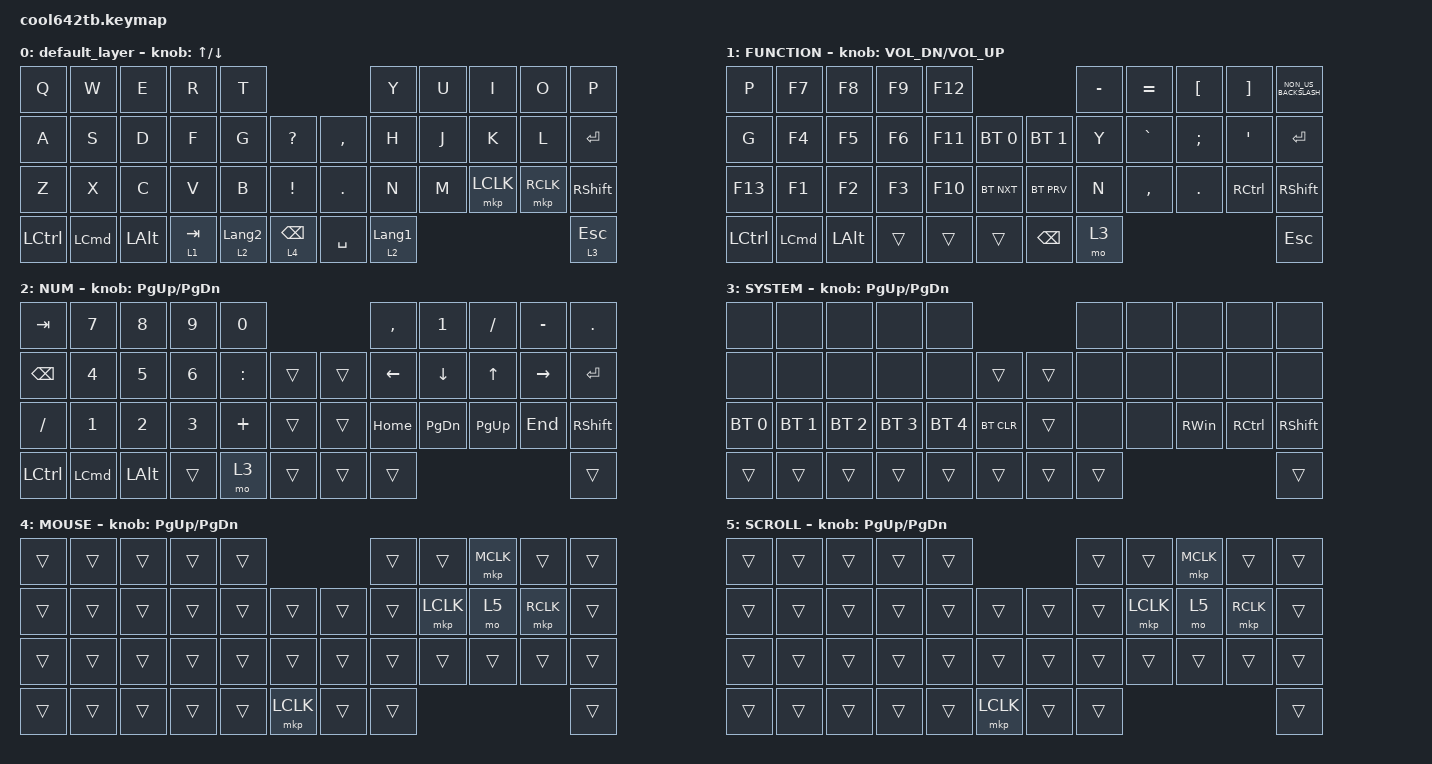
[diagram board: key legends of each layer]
#include <behaviors.dtsi>
#include <dt-bindings/zmk/bt.h>
#include <dt-bindings/zmk/keys.h>
#include <dt-bindings/zmk/pointing.h>

&mt {
    flavor = "hold-preferred";
    quick-tap-ms = <0>;
    tapping-term-ms = <150>;
};

/ {
    combos { compatible = "zmk,combos"; };

    macros {
        /omit-if-no-ref/

        to_layer_0: to_layer_0 {
            compatible = "zmk,behavior-macro-one-param";
            #binding-cells = <1>;
            bindings = <&to 0 &macro_param_1to1 &kp MACRO_PLACEHOLDER>;
            label = "TO_LAYER_0";
        };

        /omit-if-no-ref/

        ret_kp: ret_kp {
            compatible = "zmk,behavior-macro-one-param";
            #binding-cells = <1>;
            bindings =
                <&to 0 &macro_param_1to1>,
                <&macro_press>,
                <&kp MACRO_PLACEHOLDER>,
                <&macro_pause_for_release>,
                <&macro_param_1to1>,
                <&macro_release>,
                <&kp MACRO_PLACEHOLDER>;

            label = "RET_KP";
        };
    };

    behaviors {
        /omit-if-no-ref/

        lt_to_layer_0: lt_to_layer_0 {
            compatible = "zmk,behavior-hold-tap";
            label = "LAYER_TAP_TO_0";
            bindings = <&mo>, <&to_layer_0>;

            #binding-cells = <2>;
            tapping-term-ms = <200>;
        };
    };

    keymap {
        compatible = "zmk,keymap";

        default_layer {
            bindings = <
&kp Q      &kp W             &kp E         &kp R      &kp T                                          &kp Y             &kp U  &kp I      &kp O      &kp P
&kp A      &kp S             &kp D         &kp F      &kp G             &kp QUESTION     &kp COMMA   &kp H             &kp J  &kp K      &kp L      &kp ENTER
&kp Z      &kp X             &kp C         &kp V      &kp B             &kp EXCLAMATION  &kp PERIOD  &kp N             &kp M  &mkp LCLK  &mkp RCLK  &kp RIGHT_SHIFT
&kp LCTRL  &kp LEFT_COMMAND  &kp LEFT_ALT  &lt 1 TAB  &lt 2 LANGUAGE_2  &lt 4 BACKSPACE  &kp SPACE   &lt 2 LANGUAGE_1                               &lt 3 ESC
            >;

            sensor-bindings = <&inc_dec_kp UP_ARROW DOWN_ARROW>;
        };

        FUNCTION {
            bindings = <
&kp P      &kp F7            &kp F8        &kp F9  &kp F12                               &kp MINUS  &kp EQUAL  &kp LEFT_BRACKET  &kp RIGHT_BRACKET  &kp NON_US_BACKSLASH
&kp G      &kp F4            &kp F5        &kp F6  &kp F11  &bt BT_SEL 0  &bt BT_SEL 1   &kp Y      &kp GRAVE  &kp SEMICOLON     &kp SQT            &kp ENTER
&kp F13    &kp F1            &kp F2        &kp F3  &kp F10  &bt BT_NXT    &bt BT_PRV     &kp N      &kp COMMA  &kp PERIOD        &kp RCTRL          &kp RIGHT_SHIFT
&kp LCTRL  &kp LEFT_COMMAND  &kp LEFT_ALT  &trans  &trans   &trans        &kp BACKSPACE  &mo 3                                                      &kp ESCAPE
            >;

            sensor-bindings = <&inc_dec_kp C_VOL_DN C_VOL_UP>;
        };

        NUM {
            bindings = <
&kp TAB        &kp N7            &kp N8        &kp N9        &kp N0                     &kp COMMA       &kp NUMBER_1   &kp SLASH     &kp MINUS        &kp PERIOD
&kp BACKSPACE  &kp NUMBER_4      &kp N5        &kp NUMBER_6  &kp COLON  &trans  &trans  &kp LEFT_ARROW  &kp DOWN       &kp UP_ARROW  &kp RIGHT_ARROW  &kp ENTER
&kp SLASH      &kp NUMBER_1      &kp NUMBER_2  &kp NUMBER_3  &kp PLUS   &trans  &trans  &kp HOME        &kp PAGE_DOWN  &kp PAGE_UP   &kp END          &kp RIGHT_SHIFT
&kp LCTRL      &kp LEFT_COMMAND  &kp LEFT_ALT  &trans        &mo 3      &trans  &trans  &trans                                                        &trans
            >;

            sensor-bindings = <&inc_dec_kp PG_UP PAGE_DOWN>;
        };

        SYSTEM {
            bindings = <
&none         &none         &none         &none         &none                             &none   &none  &none          &none      &none
&none         &none         &none         &none         &none         &trans      &trans  &none   &none  &none          &none      &none
&bt BT_SEL 0  &bt BT_SEL 1  &bt BT_SEL 2  &bt BT_SEL 3  &bt BT_SEL 4  &bt BT_CLR  &trans  &none   &none  &kp RIGHT_WIN  &kp RCTRL  &kp RIGHT_SHIFT
&trans        &trans        &trans        &trans        &trans        &trans      &trans  &trans                                   &trans
            >;

            sensor-bindings = <&inc_dec_kp PG_UP PAGE_DOWN>;
        };

        MOUSE {
            bindings = <
&trans  &trans  &trans  &trans  &trans                     &trans  &trans     &mkp MCLK  &trans     &trans
&trans  &trans  &trans  &trans  &trans  &trans     &trans  &trans  &mkp LCLK  &mo 5      &mkp RCLK  &trans
&trans  &trans  &trans  &trans  &trans  &trans     &trans  &trans  &trans     &trans     &trans     &trans
&trans  &trans  &trans  &trans  &trans  &mkp LCLK  &trans  &trans                                   &trans
            >;

            sensor-bindings = <&inc_dec_kp PG_UP PAGE_DOWN>;
        };

        SCROLL {
            bindings = <
&trans  &trans  &trans  &trans  &trans                     &trans  &trans     &mkp MCLK  &trans     &trans
&trans  &trans  &trans  &trans  &trans  &trans     &trans  &trans  &mkp LCLK  &mo 5      &mkp RCLK  &trans
&trans  &trans  &trans  &trans  &trans  &trans     &trans  &trans  &trans     &trans     &trans     &trans
&trans  &trans  &trans  &trans  &trans  &mkp LCLK  &trans  &trans                                   &trans
            >;

            sensor-bindings = <&inc_dec_kp PG_UP PAGE_DOWN>;
        };
    };
};
